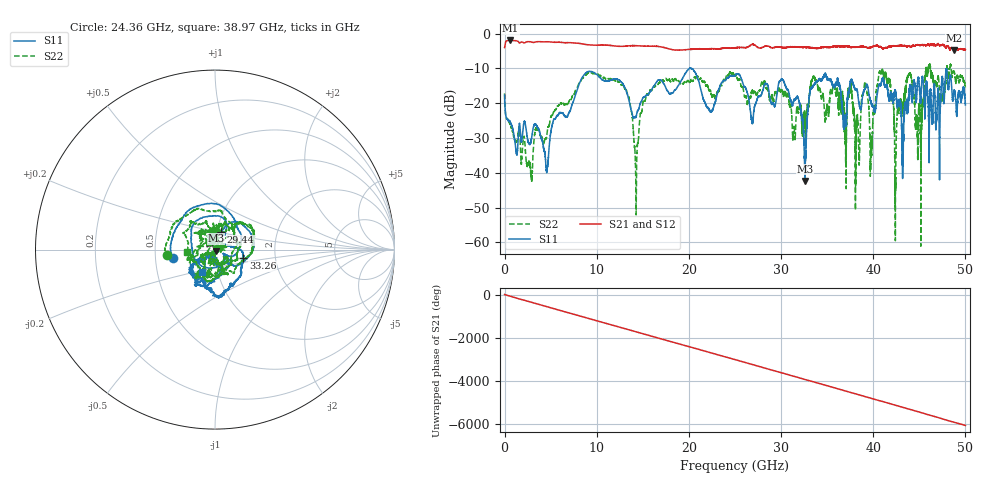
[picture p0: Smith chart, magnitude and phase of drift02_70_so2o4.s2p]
!Created with skrf (http://scikit-rf.org).
# Hz S RI R 50.0
!freq ReS11 ImS11 ReS21 ImS21 ReS12 ImS12 ReS22 ImS22
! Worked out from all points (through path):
!   10001 points, 300 kHz to 50 GHz, reference 50 ohm
!   highest |S21| = -1.99 dB at 630.3 MHz (marker M1); lowest = -4.8 dB at 48.77 GHz (marker M2)
!   group delay of S21, straight-line fit = 337 ps
!   lowest |S11| = -42.3 dB at 32.59 GHz (marker M3), VSWR 1.02, Z = 50.6 - j0.523 ohm
!   |S11| at or under -10 dB: start of sweep to 20.06 GHz; 20.20631 GHz to 20.22247 GHz (16.16 MHz wide, 0.08 % of centre); 20.24 GHz to end of sweep (the widest 3 of 5)
!   |S22| runs from -61.1 to -8.7 dB; largest |S21 - S12| = 0.033
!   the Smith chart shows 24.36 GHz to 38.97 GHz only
!   S11 on the Smith chart (normalised r, x): 24.36 GHz: 0.62, -0.06; 29.44 GHz: 1.05, +0.21; 33.26 GHz: 1.37, -0.13; 38.97 GHz: 0.84, -0.22
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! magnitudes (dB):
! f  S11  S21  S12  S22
! 300 kHz  -17.7  -4.0  -4.0  -17.2
! 630.3 MHz  -25.6  -2.0  -2.0  -26.4
! 4.565 GHz  -39.7  -2.4  -2.4  -29.4
! 8.335 GHz  -13.0  -2.9  -2.9  -13.2
! 13.01 GHz  -15.3  -3.6  -3.6  -15.7
! 14.28 GHz  -23.8  -3.5  -3.5  -50.6
! 16.67 GHz  -13.3  -3.7  -3.7  -14.5
! 24.36 GHz  -12.5  -4.2  -4.2  -11.4
! 25 GHz  -12.1  -4.1  -4.1  -12.2
! 29.44 GHz  -19.6  -3.9  -3.9  -16.8
! 32.59 GHz  -42.3  -3.9  -3.9  -27.2
! 33.26 GHz  -15.7  -4.0  -4.1  -14.5
! 33.34 GHz  -15.7  -4.0  -4.1  -13.4
! 38.29 GHz  -16.8  -3.9  -3.9  -23.3
! 38.97 GHz  -16.7  -3.8  -3.8  -16.1
! 39.8 GHz  -20.1  -4.0  -3.9  -30.6
! 41.67 GHz  -18.2  -3.8  -3.9  -12.9
! 42.47 GHz  -18.0  -3.6  -3.6  -34.7
! 43.87 GHz  -18.5  -3.6  -3.5  -11.9
! 44.99 GHz  -14.2  -3.3  -3.3  -20.5
! 48.77 GHz  -17.0  -4.8  -4.8  -10.9
! 50 GHz  -20.5  -4.6  -4.6  -15.5
